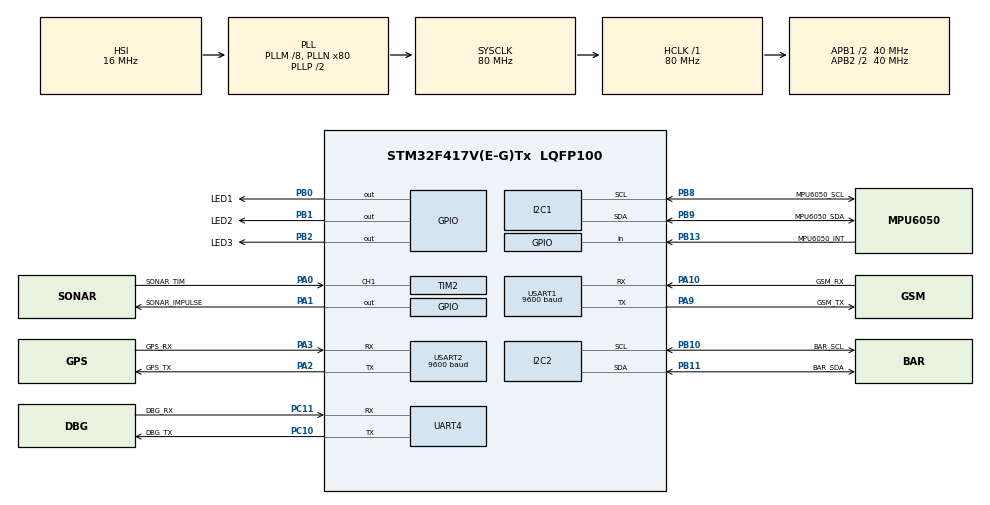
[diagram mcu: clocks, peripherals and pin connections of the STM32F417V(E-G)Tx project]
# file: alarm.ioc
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FREERTOS.Tasks01=defaultTask,0,128,StartDefaultTask,Default,NULL
Mcu.Family=STM32F4
Mcu.Name=STM32F417V(E-G)Tx
Mcu.Package=LQFP100
Mcu.UserConstants=tim2_prescaler,89;tim2_period,9999999;tim7_prescaler,89;tim7_period,9
NVIC.I2C1_EV_IRQn=true\:5\:0\:false\:false\:true\:true
NVIC.I2C2_EV_IRQn=true\:5\:0\:false\:false\:true\:true
NVIC.PriorityGroup=NVIC_PRIORITYGROUP_4
NVIC.TIM1_UP_TIM10_IRQn=true\:0\:0\:false\:false\:true\:false
NVIC.TIM2_IRQn=true\:5\:0\:false\:false\:true\:true
NVIC.TIM7_IRQn=true\:5\:0\:false\:false\:true\:true
NVIC.TimeBase=TIM1_UP_TIM10_IRQn
NVIC.TimeBaseIP=TIM1
NVIC.UART4_IRQn=true\:5\:0\:false\:false\:true\:true
NVIC.USART1_IRQn=true\:5\:0\:false\:false\:true\:true
NVIC.USART2_IRQn=true\:5\:0\:false\:false\:true\:true
PA0-WKUP.GPIO_Label=SONAR_TIM
PA0-WKUP.GPIO_PuPd=GPIO_PULLDOWN
PA0-WKUP.Signal=S_TIM2_CH1_ETR
PA1.GPIO_Label=SONAR_IMPULSE
PA1.Signal=GPIO_Output
PA10.GPIO_Label=GSM_RX
PA10.Mode=Asynchronous
PA10.Signal=USART1_RX
PA2.GPIO_Label=GPS_TX
PA2.Mode=Asynchronous
PA2.Signal=USART2_TX
PA3.GPIO_Label=GPS_RX
PA3.Mode=Asynchronous
PA3.Signal=USART2_RX
PA9.GPIO_Label=GSM_TX
PA9.Mode=Asynchronous
PA9.Signal=USART1_TX
PB0.GPIO_Label=LED1
PB0.Signal=GPIO_Output
PB1.GPIO_Label=LED2
PB1.Signal=GPIO_Output
PB10.GPIO_Label=BAR_SCL
PB10.Mode=I2C
PB10.Signal=I2C2_SCL
PB11.GPIO_Label=BAR_SDA
PB11.Mode=I2C
PB11.Signal=I2C2_SDA
PB13.GPIO_Label=MPU6050_INT
PB13.Signal=GPIO_Input
PB2.GPIO_Label=LED3
PB2.Signal=GPIO_Output
PB8.GPIO_Label=MPU6050_SCL
PB8.Mode=I2C
PB8.Signal=I2C1_SCL
PB9.GPIO_Label=MPU6050_SDA
PB9.Mode=I2C
PB9.Signal=I2C1_SDA
PC10.GPIO_Label=DBG_TX
PC10.Mode=Asynchronous
PC10.Signal=UART4_TX
PC11.GPIO_Label=DBG_RX
PC11.Mode=Asynchronous
PC11.Signal=UART4_RX
ProjectManager.HeapSize=0x200
ProjectManager.StackSize=0x400
ProjectManager.TargetToolchain=TrueSTUDIO
RCC.48MHZClocksFreq_Value=40000000
RCC.AHBFreq_Value=80000000
RCC.APB1CLKDivider=RCC_HCLK_DIV2
RCC.APB1Freq_Value=40000000
RCC.APB1TimFreq_Value=80000000
RCC.APB2CLKDivider=RCC_HCLK_DIV2
RCC.APB2Freq_Value=40000000
RCC.APB2TimFreq_Value=80000000
RCC.CortexFreq_Value=80000000
RCC.HCLKFreq_Value=80000000
RCC.HSE_VALUE=8000000
RCC.HSI_VALUE=16000000
RCC.LSE_VALUE=32768
RCC.PLLM=8
RCC.PLLN=80
RCC.SYSCLKFreq_VALUE=80000000
RCC.SYSCLKSource=RCC_SYSCLKSOURCE_PLLCLK
RCC.VCOOutputFreq_Value=160000000
SH.S_TIM2_CH1_ETR.0=TIM2_CH1,Input_Capture1_from_TI1
TIM2.Channel-Input_Capture1_from_TI1=TIM_CHANNEL_1
TIM2.ICPolarity_CH1=TIM_INPUTCHANNELPOLARITY_BOTHEDGE
TIM2.Period=tim2_period
TIM2.Prescaler=tim2_prescaler
TIM7.Period=tim7_period
TIM7.Prescaler=tim7_prescaler
UART4.VirtualMode=Asynchronous
USART1.BaudRate=9600
USART1.VirtualMode=VM_ASYNC
USART2.BaudRate=9600
USART2.VirtualMode=VM_ASYNC
VP_FREERTOS_VS_ENABLE.Mode=Enabled
VP_SYS_VS_tim1.Mode=TIM1
VP_TIM7_VS_ClockSourceINT.Mode=Enable_Timer
VP_TIM7_VS_OPM.Mode=OPM_bit
board=alarm

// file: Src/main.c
/**
  ******************************************************************************
  * File Name          : main.c
  * Description        : Main program body
  ******************************************************************************
  *
  * Copyright (c) 2017 STMicroelectronics International N.V.
  * All rights reserved.
  *
  * Redistribution and use in source and binary forms, with or without
  * modification, are permitted, provided that the following conditions are met:
  *
  * 1. Redistribution of source code must retain the above copyright notice,
  *    this list of conditions and the following disclaimer.
  * 2. Redistributions in binary form must reproduce the above copyright notice,
  *    this list of conditions and the following disclaimer in the documentation
  *    and/or other materials provided with the distribution.
  * 3. Neither the name of STMicroelectronics nor the names of other
  *    contributors to this software may be used to endorse or promote products
  *    derived from this software without specific written permission.
  * 4. This software, including modifications and/or derivative works of this
  *    software, must execute solely and exclusively on microcontroller or
  *    microprocessor devices manufactured by or for STMicroelectronics.
  * 5. Redistribution and use of this software other than as permitted under
  *    this license is void and will automatically terminate your rights under
  *    this license.
  *
  * THIS SOFTWARE IS PROVIDED BY STMICROELECTRONICS AND CONTRIBUTORS "AS IS"
  * AND ANY EXPRESS, IMPLIED OR STATUTORY WARRANTIES, INCLUDING, BUT NOT
  * LIMITED TO, THE IMPLIED WARRANTIES OF MERCHANTABILITY, FITNESS FOR A
  * PARTICULAR PURPOSE AND NON-INFRINGEMENT OF THIRD PARTY INTELLECTUAL PROPERTY
  * RIGHTS ARE DISCLAIMED TO THE FULLEST EXTENT PERMITTED BY LAW. IN NO EVENT
  * SHALL STMICROELECTRONICS OR CONTRIBUTORS BE LIABLE FOR ANY DIRECT, INDIRECT,
  * INCIDENTAL, SPECIAL, EXEMPLARY, OR CONSEQUENTIAL DAMAGES (INCLUDING, BUT NOT
  * LIMITED TO, PROCUREMENT OF SUBSTITUTE GOODS OR SERVICES; LOSS OF USE, DATA,
  * OR PROFITS; OR BUSINESS INTERRUPTION) HOWEVER CAUSED AND ON ANY THEORY OF
  * LIABILITY, WHETHER IN CONTRACT, STRICT LIABILITY, OR TORT (INCLUDING
  * NEGLIGENCE OR OTHERWISE) ARISING IN ANY WAY OUT OF THE USE OF THIS SOFTWARE,
  * EVEN IF ADVISED OF THE POSSIBILITY OF SUCH DAMAGE.
  *
  ******************************************************************************
  */
#include "main.h"
#include "stm32f4xx_hal.h"
#include "cmsis_os.h"
#include "i2c.h"
#include "tim.h"
#include "usart.h"
#include "gpio.h"

/* USER CODE BEGIN Includes */
#include "debug.h"
#include "Accelerometer.h"
#include "gps.h"
#include "GSM.h"
/* USER CODE END Includes */

/* USER CODE BEGIN PV */
/* Private variables ---------------------------------------------------------*/

/* USER CODE END PV */

void SystemClock_Config(void);
void Error_Handler(void);
void MX_FREERTOS_Init(void);

/* USER CODE BEGIN PFP */
/* Private function prototypes -----------------------------------------------*/

/* USER CODE END PFP */

/* USER CODE BEGIN 0 */
void HAL_UART_RxCpltCallback(UART_HandleTypeDef *huart) {

	if(huart == &huart1)
	{
		gsm_buffer[gsm_currSize++]=(char)gsm_Received;
		GSM_Parse();
		if((char)gsm_Received == '>')
		{
			sending=1;
			printf("[DBG] > sign read \r\n");
		}
		HAL_UART_Receive_IT(&huart1, &gsm_Received, 1);
	}
	else if(huart == &huart2)
	{
		buffer[currSize++]=(char)Received;
		searchCRLF();
		HAL_UART_Receive_IT(&huart2, &Received, 1);
	}
}
/* USER CODE END 0 */

int main(void)
{

  /* USER CODE BEGIN 1 */
	HAL_StatusTypeDef Status;
	//SemaphoreHandle_t xMutex = xSemaphoreCreateMutex();
  /* USER CODE END 1 */

  /* MCU Configuration----------------------------------------------------------*/

  /* Reset of all peripherals, Initializes the Flash interface and the Systick. */
  HAL_Init();

  /* Configure the system clock */
  SystemClock_Config();

  /* Initialize all configured peripherals */
  MX_GPIO_Init();
  MX_UART4_Init();
  MX_USART2_UART_Init();
  MX_I2C2_Init();
  MX_I2C1_Init();
  MX_USART1_UART_Init();
  MX_TIM2_Init();
  MX_TIM7_Init();

  /* USER CODE BEGIN 2 */
	Status = AccelerometerInit();
	if (Status == HAL_OK) {
		HAL_Delay(1000);
		printf("MPU6050 initialization completed\n\r");
	} else {
		HAL_Delay(1000);
		printf("MPU60 50 FAIL\n\r");
	}

	Status = GPSInit();
	if (Status == HAL_OK) {
		HAL_Delay(1000);
		printf("GPS initialization completed\n\r");
	} else {
		HAL_Delay(1000);
		printf("GPS FAIL\n\r");
	}

	GSM_Init();

  /* USER CODE END 2 */

  /* Call init function for freertos objects (in freertos.c) */
  MX_FREERTOS_Init();

  /* Start scheduler */
  osKernelStart();

  /* We should never get here as control is now taken by the scheduler */

  /* Infinite loop */
	while (1) {

	}

}

/** System Clock Configuration
*/
void SystemClock_Config(void)
{

  RCC_OscInitTypeDef RCC_OscInitStruct;
  RCC_ClkInitTypeDef RCC_ClkInitStruct;

    /**Configure the main internal regulator output voltage
    */
  __HAL_RCC_PWR_CLK_ENABLE();

  __HAL_PWR_VOLTAGESCALING_CONFIG(PWR_REGULATOR_VOLTAGE_SCALE1);

    /**Initializes the CPU, AHB and APB busses clocks
    */
  RCC_OscInitStruct.OscillatorType = RCC_OSCILLATORTYPE_HSI;
  RCC_OscInitStruct.HSIState = RCC_HSI_ON;
  RCC_OscInitStruct.HSICalibrationValue = 16;
  RCC_OscInitStruct.PLL.PLLState = RCC_PLL_ON;
  RCC_OscInitStruct.PLL.PLLSource = RCC_PLLSOURCE_HSI;
  RCC_OscInitStruct.PLL.PLLM = 8;
  RCC_OscInitStruct.PLL.PLLN = 80;
  RCC_OscInitStruct.PLL.PLLP = RCC_PLLP_DIV2;
  RCC_OscInitStruct.PLL.PLLQ = 4;
  if (HAL_RCC_OscConfig(&RCC_OscInitStruct) != HAL_OK)
  {
    Error_Handler();
  }

    /**Initializes the CPU, AHB and APB busses clocks
    */
  RCC_ClkInitStruct.ClockType = RCC_CLOCKTYPE_HCLK|RCC_CLOCKTYPE_SYSCLK
                              |RCC_CLOCKTYPE_PCLK1|RCC_CLOCKTYPE_PCLK2;
  RCC_ClkInitStruct.SYSCLKSource = RCC_SYSCLKSOURCE_PLLCLK;
  RCC_ClkInitStruct.AHBCLKDivider = RCC_SYSCLK_DIV1;
  RCC_ClkInitStruct.APB1CLKDivider = RCC_HCLK_DIV2;
  RCC_ClkInitStruct.APB2CLKDivider = RCC_HCLK_DIV2;

  if (HAL_RCC_ClockConfig(&RCC_ClkInitStruct, FLASH_LATENCY_2) != HAL_OK)
  {
    Error_Handler();
  }

    /**Configure the Systick interrupt time
    */
  HAL_SYSTICK_Config(HAL_RCC_GetHCLKFreq()/1000);

    /**Configure the Systick
    */
  HAL_SYSTICK_CLKSourceConfig(SYSTICK_CLKSOURCE_HCLK);

  /* SysTick_IRQn interrupt configuration */
  HAL_NVIC_SetPriority(SysTick_IRQn, 15, 0);
}

void Error_Handler(void)
{
	while (1) {
	}
}

/************************ (C) COPYRIGHT STMicroelectronics *****END OF FILE****/

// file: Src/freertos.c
/**
  ******************************************************************************
  * File Name          : freertos.c
  * Description        : Code for freertos applications
  ******************************************************************************
  *
  * Copyright (c) 2017 STMicroelectronics International N.V.
  * All rights reserved.
  *
  * Redistribution and use in source and binary forms, with or without
  * modification, are permitted, provided that the following conditions are met:
  *
  * 1. Redistribution of source code must retain the above copyright notice,
  *    this list of conditions and the following disclaimer.
  * 2. Redistributions in binary form must reproduce the above copyright notice,
  *    this list of conditions and the following disclaimer in the documentation
  *    and/or other materials provided with the distribution.
  * 3. Neither the name of STMicroelectronics nor the names of other
  *    contributors to this software may be used to endorse or promote products
  *    derived from this software without specific written permission.
  * 4. This software, including modifications and/or derivative works of this
  *    software, must execute solely and exclusively on microcontroller or
  *    microprocessor devices manufactured by or for STMicroelectronics.
  * 5. Redistribution and use of this software other than as permitted under
  *    this license is void and will automatically terminate your rights under
  *    this license.
  *
  * THIS SOFTWARE IS PROVIDED BY STMICROELECTRONICS AND CONTRIBUTORS "AS IS"
  * AND ANY EXPRESS, IMPLIED OR STATUTORY WARRANTIES, INCLUDING, BUT NOT
  * LIMITED TO, THE IMPLIED WARRANTIES OF MERCHANTABILITY, FITNESS FOR A
  * PARTICULAR PURPOSE AND NON-INFRINGEMENT OF THIRD PARTY INTELLECTUAL PROPERTY
  * RIGHTS ARE DISCLAIMED TO THE FULLEST EXTENT PERMITTED BY LAW. IN NO EVENT
  * SHALL STMICROELECTRONICS OR CONTRIBUTORS BE LIABLE FOR ANY DIRECT, INDIRECT,
  * INCIDENTAL, SPECIAL, EXEMPLARY, OR CONSEQUENTIAL DAMAGES (INCLUDING, BUT NOT
  * LIMITED TO, PROCUREMENT OF SUBSTITUTE GOODS OR SERVICES; LOSS OF USE, DATA,
  * OR PROFITS; OR BUSINESS INTERRUPTION) HOWEVER CAUSED AND ON ANY THEORY OF
  * LIABILITY, WHETHER IN CONTRACT, STRICT LIABILITY, OR TORT (INCLUDING
  * NEGLIGENCE OR OTHERWISE) ARISING IN ANY WAY OUT OF THE USE OF THIS SOFTWARE,
  * EVEN IF ADVISED OF THE POSSIBILITY OF SUCH DAMAGE.
  *
  ******************************************************************************
  */

#include "FreeRTOS.h"
#include "task.h"
#include "cmsis_os.h"

/* USER CODE BEGIN Includes */
//#include <math.h>
#include "Accelerometer.h"
#include "gps.h"
#include "GSM.h"
/* USER CODE END Includes */

osThreadId defaultTaskHandle;

/* USER CODE BEGIN Variables */
osThreadId debug_printer_id;
osThreadId mpu6050_reader_id;
xSemaphoreHandle xMutex;
/* USER CODE END Variables */

void StartDefaultTask(void const * argument);

void MX_FREERTOS_Init(void); /* (MISRA C 2004 rule 8.1) */

/* USER CODE BEGIN FunctionPrototypes */
void DebugPrinter(void const * argument);
void MPU6050_Reader(void const * argument);
void SMS_Sender(void const * argument);
/* USER CODE END FunctionPrototypes */

/* Hook prototypes */

/* Init FreeRTOS */

void MX_FREERTOS_Init(void) {

  /* Create the thread(s) */
  /* definition and creation of defaultTask */
  osThreadDef(defaultTask, StartDefaultTask, osPriorityNormal, 0, 128);
  defaultTaskHandle = osThreadCreate(osThread(defaultTask), NULL);

  /* USER CODE BEGIN RTOS_THREADS */
	xTaskCreate(DebugPrinter, "DebugPrinter", configMINIMAL_STACK_SIZE, NULL, tskIDLE_PRIORITY + 1, NULL);
	xTaskCreate(SMS_Sender, "SMS_Sender", configMINIMAL_STACK_SIZE, NULL, tskIDLE_PRIORITY + 1, NULL);
	xTaskCreate(MPU6050_Reader, "MPU6050_Reader", configMINIMAL_STACK_SIZE, NULL, tskIDLE_PRIORITY + 1, NULL);
	/*
	osThreadDef(debug_printing, DebugPrinter, osPriorityNormal, 0, 128);
	debug_printer_id = osThreadCreate(osThread(debug_printing), NULL);

	osThreadDef(mpu6050_reading, MPU6050_Reader, osPriorityNormal, 0, 128);
	mpu6050_reader_id = osThreadCreate(osThread(mpu6050_reading), NULL);
	*/
  /* USER CODE END RTOS_THREADS */

}

/* StartDefaultTask function */
void StartDefaultTask(void const * argument)
{

  for(;;)
  {
    osDelay(1);
  }
}

/* USER CODE BEGIN Application */

void MPU6050_Reader(void const * argument)
{
	MPU_6050 mpu;

		for(;;)
		{

				GetAccelerometerData(&mpu);
				GetGyroData(&mpu);
				ComplementaryFilter(&mpu, &pitch, &roll);

			//printf("Pitch: %d, Roll: %d\n\r", (int)pitch, (int)roll);

			osDelay(10);
		}
}

void DebugPrinter(void const * argument)
{
	for(;;)
	{
		//printf("Pitch: %d, Roll: %d\n\r", (int)pitch, (int)roll);
		//printf("Sonar: %d, is_landed: %d\n\r", sonar_result, landed);
		printf("GPS: %s    %s    %s\n\r", gps_time, gps_latitude, gps_longitude);
		osDelay(1000);
	}
}

void SMS_Sender(void const * argument)
{
	for(;;)
	{
		//msg_size = sprintf(msg,"Pitch: %d, Roll: %d Sonar: %d, is_landed: %d GPS: %s     %s     %s Temp: %d Pressure: %d",
		//			(int)pitch, (int)roll, sonar_result, landed, gps_time, gps_latitude, gps_longitude, temperature, pressure);
		sprintf(msg,"GPS: %s %s %s",gps_time, gps_latitude, gps_longitude);
		GSM_SendSMS();
		osDelay(6000);
	}
}

/* USER CODE END Application */

/************************ (C) COPYRIGHT STMicroelectronics *****END OF FILE****/
